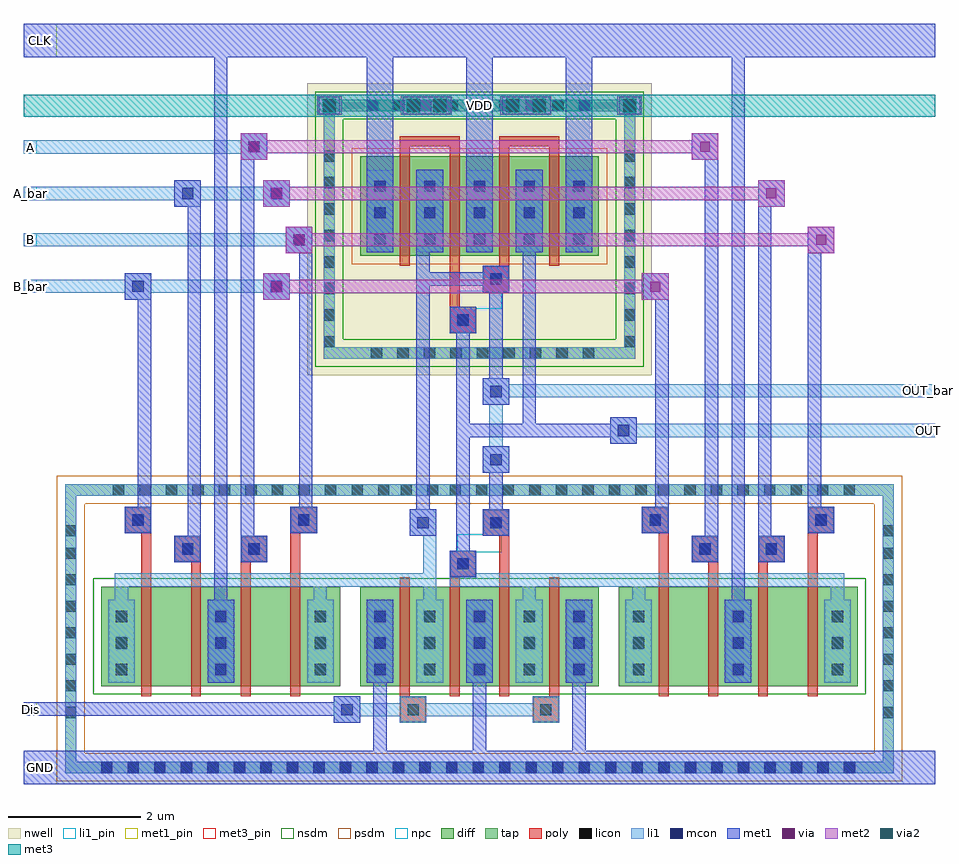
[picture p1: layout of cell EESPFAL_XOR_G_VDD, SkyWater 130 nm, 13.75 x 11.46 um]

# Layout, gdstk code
import gdstk
lib = gdstk.Library(unit=1e-6, precision=1e-09)
def R(c, l, rs):  # rectangles x0, y0, x1, y1
    for r in rs: c.add(gdstk.rectangle(r[:2], r[2:], *l))
def A(c, l, x, y, w, h, nx, ny, dx, dy):  # array of equal rectangles
    R(c, l, [(x+i*dx, y+j*dy, x+i*dx+w, y+j*dy+h) for i in range(nx) for j in range(ny)])
nwell = (64, 20)
diff = (65, 20)
tap = (65, 44)
poly = (66, 20)
licon = (66, 44)
li1_pin = (67, 16)
li1 = (67, 20)
mcon = (67, 44)
met1_pin = (68, 16)
met1 = (68, 20)
via = (68, 44)
met2 = (69, 20)
via2 = (69, 44)
met3_pin = (70, 16)
met3 = (70, 20)
nsdm = (93, 44)
psdm = (94, 20)
npc = (95, 20)

eespfal_xor_g_vdd = lib.new_cell('EESPFAL_XOR_G_VDD')
R(eespfal_xor_g_vdd, nwell, [(-21.99,6.61,-16.79,11.01)])
A(eespfal_xor_g_vdd, diff, -25.09, 1.92, 3.6, 1.5, 3, 1, 3.9, 0)
R(eespfal_xor_g_vdd, diff, [(-21.19,8.41,-17.59,9.91)])
R(eespfal_xor_g_vdd, tap, [(-25.64,0.61,-13.14,0.78), (-25.64,0.78,-25.47,4.795), (-13.31,0.78,-13.14,4.795), (-25.64,4.795,-13.14,4.965), (-21.74,6.86,-17.04,7.03), (-21.74,7.03,-21.57,10.59), (-17.21,7.03,-17.04,10.59), (-21.74,10.59,-17.04,10.76)])
R(eespfal_xor_g_vdd, poly, [(-20.59,1.365,-20.19,1.765), (-18.59,1.365,-18.19,1.765), (-20.59,1.765,-20.44,3.565), (-19.84,1.765,-19.69,3.565), (-19.09,1.765,-18.94,4.185), (-18.34,1.765,-18.19,3.565), (-24.49,1.77,-24.34,4.225), (-23.74,1.77,-23.59,3.79), (-22.99,1.77,-22.84,3.79), (-22.24,1.77,-22.09,4.225), (-16.69,1.77,-16.54,4.225), (-15.94,1.77,-15.79,3.79), (-15.19,1.77,-15.04,3.79), (-14.44,1.77,-14.29,4.225), (-19.84,3.565,-19.44,3.965), (-23.99,3.79,-23.59,4.19), (-22.99,3.79,-22.59,4.19), (-16.19,3.79,-15.79,4.19), (-15.19,3.79,-14.79,4.19), (-19.34,4.185,-18.94,4.585), (-24.74,4.225,-24.34,4.625), (-22.24,4.225,-21.84,4.625), (-16.94,4.225,-16.54,4.625), (-14.44,4.225,-14.04,4.625), (-19.84,7.24,-19.44,7.64), (-19.84,7.64,-19.69,10.06), (-19.34,7.86,-18.94,8.26), (-20.59,8.26,-20.44,10.06), (-19.09,8.26,-18.94,10.06), (-18.34,8.26,-18.19,10.06), (-20.59,10.06,-19.69,10.21), (-19.09,10.06,-18.19,10.21)])
A(eespfal_xor_g_vdd, licon, -25.095, 0.61, 0.17, 0.17, 29, 1, 0.4, 0)
A(eespfal_xor_g_vdd, licon, -25.64, 1.44, 0.17, 0.17, 1, 7, 0, 0.4)
A(eespfal_xor_g_vdd, licon, -13.31, 1.44, 0.17, 0.17, 1, 7, 0, 0.4)
A(eespfal_xor_g_vdd, licon, -24.875, 2.085, 0.17, 0.17, 3, 3, 1.5, 0.4)
A(eespfal_xor_g_vdd, licon, -20.975, 2.085, 0.17, 0.17, 5, 3, 0.75, 0.4)
A(eespfal_xor_g_vdd, licon, -17.075, 2.085, 0.17, 0.17, 3, 3, 1.5, 0.4)
A(eespfal_xor_g_vdd, licon, -24.92, 4.795, 0.17, 0.17, 11, 1, 0.4, 0)
A(eespfal_xor_g_vdd, licon, -19.84, 4.795, 0.17, 0.17, 8, 1, 0.4, 0)
A(eespfal_xor_g_vdd, licon, -16.7, 4.795, 0.17, 0.17, 8, 1, 0.4, 0)
A(eespfal_xor_g_vdd, licon, -21.03, 6.86, 0.17, 0.17, 9, 1, 0.4, 0)
A(eespfal_xor_g_vdd, licon, -21.74, 7.03, 0.17, 0.17, 1, 8, 0, 0.4)
A(eespfal_xor_g_vdd, licon, -17.21, 7.03, 0.17, 0.17, 1, 8, 0, 0.4)
A(eespfal_xor_g_vdd, licon, -20.975, 8.575, 0.17, 0.17, 5, 3, 0.75, 0.4)
A(eespfal_xor_g_vdd, licon, -21.09, 10.59, 0.17, 0.17, 9, 1, 0.4, 0)
R(eespfal_xor_g_vdd, licon, [(-20.475,1.48,-20.305,1.65), (-18.475,1.48,-18.305,1.65), (-19.725,3.68,-19.555,3.85), (-23.875,3.905,-23.705,4.075), (-22.875,3.905,-22.705,4.075), (-16.075,3.905,-15.905,4.075), (-15.075,3.905,-14.905,4.075), (-25.64,4.18,-25.47,4.35), (-13.31,4.18,-13.14,4.35), (-19.225,4.3,-19.055,4.47), (-24.625,4.34,-24.455,4.51), (-22.125,4.34,-21.955,4.51), (-16.825,4.34,-16.655,4.51), (-14.325,4.34,-14.155,4.51), (-20.58,4.795,-20.41,4.965), (-20.18,4.795,-20.01,4.965), (-19.725,7.355,-19.555,7.525), (-19.225,7.975,-19.055,8.145)])
A(eespfal_xor_g_vdd, li1_pin, -26.265, 7.85, 0.2, 0.2, 1, 4, 0, 0.7)
R(eespfal_xor_g_vdd, li1_pin, [(-12.715,5.675,-12.515,5.875), (-12.715,6.275,-12.515,6.475)])
A(eespfal_xor_g_vdd, li1, -24.99, 1.97, 0.4, 1.25, 3, 1, 1.5, 0)
A(eespfal_xor_g_vdd, li1, -21.09, 1.97, 0.4, 1.25, 5, 2, 0.75, 6.49)
A(eespfal_xor_g_vdd, li1, -17.19, 1.97, 0.4, 1.25, 3, 1, 1.5, 0)
R(eespfal_xor_g_vdd, li1, [(-25.64,0.61,-13.14,0.78), (-25.64,0.78,-25.47,4.795), (-13.31,0.78,-13.14,4.795), (-21.59,1.365,-21.19,1.465), (-20.59,1.365,-20.19,1.465), (-18.59,1.365,-18.19,1.465), (-21.59,1.465,-18.19,1.665), (-21.59,1.665,-21.19,1.765), (-20.59,1.665,-20.19,1.765), (-18.59,1.665,-18.19,1.765), (-24.89,3.22,-24.69,3.42), (-21.89,3.22,-21.69,3.42), (-20.24,3.22,-20.04,3.42), (-18.74,3.22,-18.54,3.42), (-17.09,3.22,-16.89,3.42), (-14.09,3.22,-13.89,3.42), (-24.89,3.42,-20.04,3.62), (-19.84,3.42,-13.89,3.62), (-20.24,3.62,-20.04,4.185), (-19.84,3.62,-19.44,3.965), (-23.99,3.79,-23.59,4.19), (-22.99,3.79,-22.59,4.19), (-16.19,3.79,-15.79,4.19), (-15.19,3.79,-14.79,4.19), (-20.44,4.185,-20.04,4.585), (-19.34,4.185,-18.94,4.585), (-24.74,4.225,-24.34,4.625), (-22.24,4.225,-21.84,4.625), (-16.94,4.225,-16.54,4.625), (-14.44,4.225,-14.04,4.625), (-25.64,4.795,-13.14,4.965), (-19.34,5.135,-18.94,5.535), (-19.24,5.535,-19.04,6.165), (-17.42,5.575,-17.02,5.675), (-17.42,5.675,-12.515,5.875), (-17.42,5.875,-17.02,5.975), (-19.34,6.165,-18.94,6.275), (-19.34,6.275,-12.515,6.475), (-19.34,6.475,-18.94,6.565), (-21.74,6.86,-17.04,7.03), (-21.74,7.03,-21.57,10.59), (-17.21,7.03,-17.04,10.59), (-19.84,7.24,-19.44,7.64), (-22.65,7.745,-22.25,7.85), (-24.74,7.75,-24.34,7.85), (-26.265,7.85,-22.25,8.05), (-19.34,7.86,-18.94,8.26), (-24.74,8.05,-24.34,8.15), (-22.65,8.05,-22.25,8.145), (-22.31,8.45,-21.91,8.55), (-26.265,8.55,-21.91,8.75), (-22.31,8.75,-21.91,8.85), (-23.99,9.15,-23.59,9.25), (-22.65,9.15,-22.25,9.25), (-26.265,9.25,-22.25,9.45), (-23.99,9.45,-23.59,9.55), (-22.65,9.45,-22.25,9.55), (-22.99,9.855,-22.59,9.95), (-26.265,9.95,-22.59,10.15), (-22.99,10.15,-22.59,10.255), (-21.74,10.59,-17.04,10.76)])
A(eespfal_xor_g_vdd, mcon, -25.095, 0.61, 0.17, 0.17, 29, 1, 0.4, 0)
A(eespfal_xor_g_vdd, mcon, -23.375, 2.085, 0.17, 0.17, 1, 3, 0, 0.4)
A(eespfal_xor_g_vdd, mcon, -20.975, 2.085, 0.17, 0.17, 3, 3, 1.5, 0.4)
A(eespfal_xor_g_vdd, mcon, -15.575, 2.085, 0.17, 0.17, 1, 3, 0, 0.4)
A(eespfal_xor_g_vdd, mcon, -20.975, 8.575, 0.17, 0.17, 5, 3, 0.75, 0.4)
R(eespfal_xor_g_vdd, mcon, [(-21.475,1.48,-21.305,1.65), (-19.725,3.68,-19.555,3.85), (-23.875,3.905,-23.705,4.075), (-22.875,3.905,-22.705,4.075), (-16.075,3.905,-15.905,4.075), (-15.075,3.905,-14.905,4.075), (-20.325,4.3,-20.155,4.47), (-19.225,4.3,-19.055,4.47), (-24.625,4.34,-24.455,4.51), (-22.125,4.34,-21.955,4.51), (-16.825,4.34,-16.655,4.51), (-14.325,4.34,-14.155,4.51), (-19.225,5.25,-19.055,5.42), (-17.305,5.69,-17.135,5.86), (-19.225,6.28,-19.055,6.45), (-19.725,7.355,-19.555,7.525), (-22.535,7.86,-22.365,8.03), (-24.625,7.865,-24.455,8.035), (-19.225,7.975,-19.055,8.145), (-22.195,8.565,-22.025,8.735), (-23.875,9.265,-23.705,9.435), (-22.535,9.265,-22.365,9.435), (-22.875,9.97,-22.705,10.14), (-21.74,10.59,-21.57,10.76), (-20.475,10.59,-20.305,10.76), (-20.075,10.59,-19.905,10.76), (-18.975,10.59,-18.805,10.76), (-18.575,10.59,-18.405,10.76), (-17.21,10.59,-17.04,10.76)])
R(eespfal_xor_g_vdd, met1_pin, [(-26.265,0.445,-25.765,0.945), (-26.265,1.475,-26.065,1.675), (-26.265,11.405,-25.765,11.905)])
A(eespfal_xor_g_vdd, met1, -20.99, 0.945, 0.2, 1.025, 3, 1, 1.5, 0)
A(eespfal_xor_g_vdd, met1, -21.09, 1.97, 0.4, 1.25, 3, 1, 1.5, 0)
A(eespfal_xor_g_vdd, met1, -21.09, 8.46, 0.4, 2.945, 3, 1, 1.5, 0)
R(eespfal_xor_g_vdd, met1, [(-26.265,0.445,-12.515,0.945), (-21.59,1.365,-21.19,1.475), (-26.265,1.475,-21.19,1.675), (-21.59,1.675,-21.19,1.765), (-23.49,1.97,-23.09,3.22), (-15.69,1.97,-15.29,3.22), (-23.39,3.22,-23.19,11.405), (-15.59,3.22,-15.39,11.405), (-19.84,3.565,-19.44,3.965), (-23.99,3.79,-23.59,4.19), (-22.99,3.79,-22.59,4.19), (-16.19,3.79,-15.79,4.19), (-15.19,3.79,-14.79,4.19), (-19.74,3.965,-19.54,5.675), (-20.44,4.185,-20.04,4.585), (-19.34,4.185,-18.94,4.585), (-23.79,4.19,-23.59,9.15), (-22.99,4.19,-22.79,9.855), (-15.99,4.19,-15.79,9.855), (-15.19,4.19,-14.99,9.15), (-24.74,4.225,-24.34,4.625), (-22.24,4.225,-21.84,4.625), (-16.94,4.225,-16.54,4.625), (-14.44,4.225,-14.04,4.625), (-20.34,4.585,-20.14,7.96), (-19.24,4.585,-19.04,5.135), (-24.54,4.625,-24.34,7.75), (-22.11,4.625,-21.91,8.45), (-16.74,4.625,-16.54,7.745), (-14.44,4.625,-14.24,8.45), (-19.34,5.135,-18.94,5.535), (-17.42,5.575,-17.02,5.675), (-19.74,5.675,-17.02,5.875), (-19.74,5.875,-19.54,7.24), (-18.74,5.875,-18.54,8.46), (-17.42,5.875,-17.02,5.975), (-19.34,6.165,-18.94,6.565), (-19.24,6.565,-19.04,7.86), (-19.84,7.24,-19.44,7.64), (-22.65,7.745,-22.25,8.145), (-16.94,7.745,-16.54,8.145), (-24.74,7.75,-24.34,8.15), (-19.34,7.86,-18.94,7.96), (-20.34,7.96,-18.94,8.16), (-20.34,8.16,-20.14,8.46), (-19.34,8.16,-18.94,8.26), (-22.31,8.45,-21.91,8.85), (-14.44,8.45,-14.04,8.85), (-20.34,8.46,-19.94,9.71), (-18.84,8.46,-18.44,9.71), (-23.99,9.15,-23.59,9.55), (-22.65,9.15,-22.25,9.55), (-15.19,9.15,-14.79,9.55), (-22.99,9.855,-22.59,10.255), (-16.19,9.855,-15.79,10.255), (-21.815,10.545,-21.495,10.805), (-20.55,10.545,-19.815,10.805), (-19.05,10.545,-18.315,10.805), (-17.285,10.545,-16.965,10.805), (-26.265,11.405,-12.515,11.905)])
R(eespfal_xor_g_vdd, via, [(-22.525,7.87,-22.375,8.02), (-16.815,7.87,-16.665,8.02), (-22.185,8.575,-22.035,8.725), (-14.315,8.575,-14.165,8.725), (-22.525,9.275,-22.375,9.425), (-15.065,9.275,-14.915,9.425), (-22.865,9.98,-22.715,10.13), (-16.065,9.98,-15.915,10.13), (-21.73,10.6,-21.58,10.75), (-20.465,10.6,-20.315,10.75), (-20.065,10.6,-19.915,10.75), (-18.965,10.6,-18.815,10.75), (-18.565,10.6,-18.415,10.75), (-17.2,10.6,-17.05,10.75)])
R(eespfal_xor_g_vdd, met2, [(-22.65,7.745,-22.25,7.845), (-16.94,7.745,-16.54,7.845), (-22.65,7.845,-16.54,8.045), (-22.65,8.045,-22.25,8.145), (-16.94,8.045,-16.54,8.145), (-22.31,8.45,-21.91,8.55), (-14.44,8.45,-14.04,8.55), (-22.31,8.55,-14.04,8.75), (-22.31,8.75,-21.91,8.85), (-14.44,8.75,-14.04,8.85), (-22.65,9.15,-22.25,9.25), (-15.19,9.15,-14.79,9.25), (-22.65,9.25,-14.79,9.45), (-22.65,9.45,-22.25,9.55), (-15.19,9.45,-14.79,9.55), (-22.99,9.855,-22.59,9.955), (-16.19,9.855,-15.79,9.955), (-22.99,9.955,-15.79,10.155), (-22.99,10.155,-22.59,10.255), (-16.19,10.155,-15.79,10.255), (-21.84,10.535,-21.47,10.815), (-20.575,10.535,-19.805,10.815), (-19.075,10.535,-18.305,10.815), (-17.31,10.535,-16.94,10.815)])
R(eespfal_xor_g_vdd, via2, [(-21.755,10.575,-21.555,10.775), (-20.49,10.575,-20.29,10.775), (-20.09,10.575,-19.89,10.775), (-18.99,10.575,-18.79,10.775), (-18.59,10.575,-18.39,10.775), (-17.225,10.575,-17.025,10.775)])
R(eespfal_xor_g_vdd, met3_pin, [(-26.265,10.51,-12.515,10.84)])
R(eespfal_xor_g_vdd, met3, [(-26.265,10.51,-12.515,10.84)])
R(eespfal_xor_g_vdd, nsdm, [(-25.215,1.795,-13.565,3.545), (-21.865,6.735,-16.915,7.155), (-21.865,7.155,-21.445,10.465), (-17.335,7.155,-16.915,10.465), (-21.865,10.465,-16.915,10.885)])
R(eespfal_xor_g_vdd, psdm, [(-25.765,0.485,-13.015,0.905), (-25.765,0.905,-25.345,4.67), (-13.435,0.905,-13.015,4.67), (-25.765,4.67,-13.015,5.09), (-21.315,8.285,-17.465,10.035)])
R(eespfal_xor_g_vdd, npc, [(-20.575,1.38,-20.205,1.75), (-18.575,1.38,-18.205,1.75), (-19.825,3.58,-19.455,3.94), (-23.975,3.805,-23.605,4.175), (-22.975,3.805,-22.605,4.175), (-16.175,3.805,-15.805,4.175), (-15.175,3.805,-14.805,4.175), (-19.825,3.94,-19.055,3.95), (-19.725,3.95,-19.055,4.2), (-19.725,4.2,-18.955,4.21), (-19.325,4.21,-18.955,4.57), (-24.725,4.24,-24.355,4.61), (-22.225,4.24,-21.855,4.61), (-16.925,4.24,-16.555,4.61), (-14.425,4.24,-14.055,4.61), (-19.825,7.255,-19.455,7.615), (-19.825,7.615,-19.055,7.625), (-19.725,7.625,-19.055,7.875), (-19.725,7.875,-18.955,7.885), (-19.325,7.885,-18.955,8.245)])
eespfal_xor_g_vdd.add(gdstk.Label('A', (-26.165,10.05), layer=67, texttype=5))
eespfal_xor_g_vdd.add(gdstk.Label('B', (-26.165,8.65), layer=67, texttype=5))
eespfal_xor_g_vdd.add(gdstk.Label('A_bar', (-26.165,9.35), layer=67, texttype=5))
eespfal_xor_g_vdd.add(gdstk.Label('B_bar', (-26.165,7.95), layer=67, texttype=5))
eespfal_xor_g_vdd.add(gdstk.Label('OUT_bar', (-12.615,6.375), layer=67, texttype=5))
eespfal_xor_g_vdd.add(gdstk.Label('OUT', (-12.615,5.775), layer=67, texttype=5))
eespfal_xor_g_vdd.add(gdstk.Label('VDD', (-19.39,10.675), layer=70, texttype=5))
eespfal_xor_g_vdd.add(gdstk.Label('Dis', (-26.165,1.575), layer=68, texttype=5))
eespfal_xor_g_vdd.add(gdstk.Label('GND', (-26.015,0.695), layer=68, texttype=5))
eespfal_xor_g_vdd.add(gdstk.Label('CLK', (-26.015,11.655), layer=68, texttype=5))

lib.write_gds('EESPFAL_XOR_G_VDD.gds')
